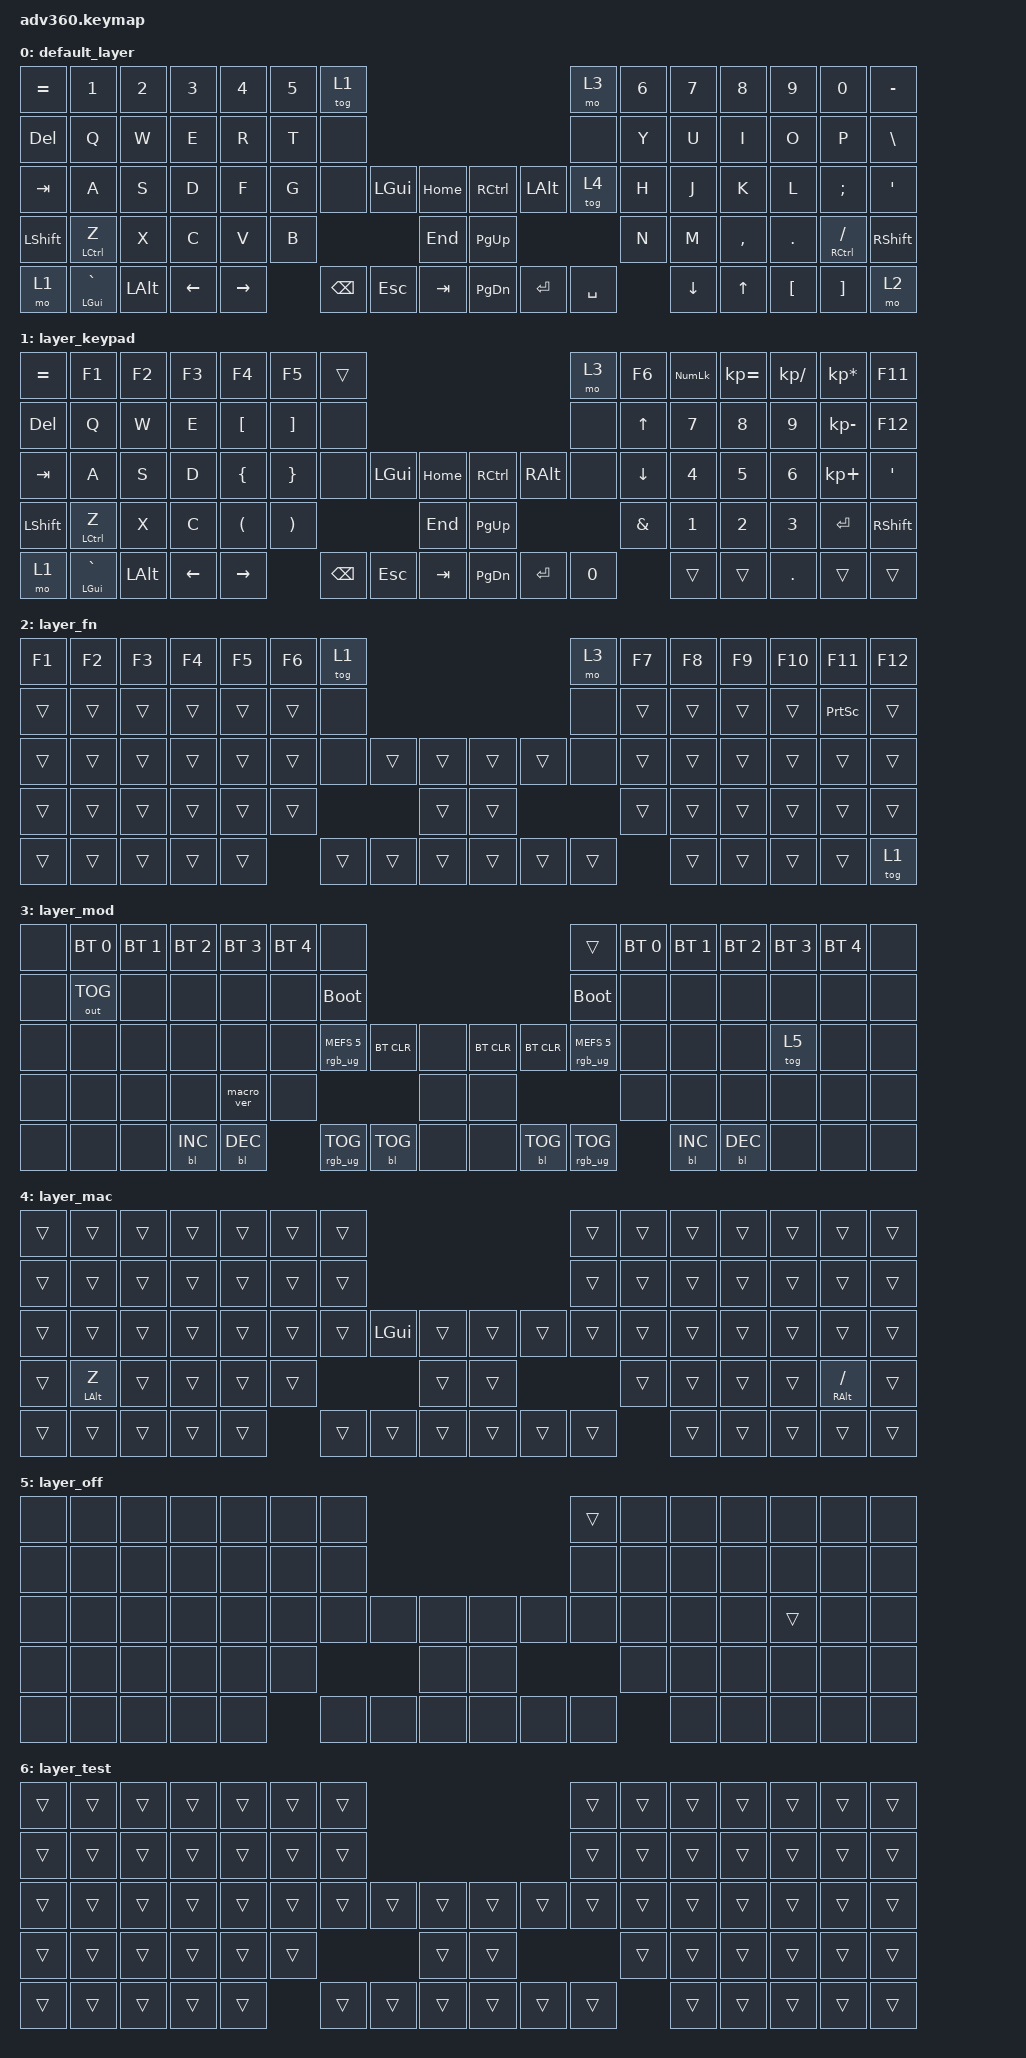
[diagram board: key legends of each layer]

/*
 * Copyright (c) 2020 The ZMK Contributors
 *
 * SPDX-License-Identifier: MIT
 */


/* THIS FILE WAS GENERATED!
 *
 * This file was generated automatically. You may or may not want to
 * edit it directly.
 */

#include <behaviors.dtsi>
#include <dt-bindings/zmk/keys.h>
#include <dt-bindings/zmk/bt.h>
#include <dt-bindings/zmk/outputs.h>
#include <dt-bindings/zmk/rgb.h>
#include <dt-bindings/zmk/backlight.h>

/ {
  behaviors {
    #include "macros.dtsi"

    #include "version.dtsi"
    #ifndef VERSION_MACRO
    macro_ver: macro_ver {
        compatible = "zmk,behavior-macro";
        label = "macro_version";
        #binding-cells = <0>;
        bindings = <&kp RET>;
    };
    #endif

    hm: homerow_mods {
        compatible = "zmk,behavior-hold-tap";
        label = "HOMEROW_MODS";
        #binding-cells = <2>;
        tapping-term-ms = <200>;
        quick_tap_ms = <175>;
        flavor = "tap-preferred";
        bindings = <&kp>, <&kp>;
    };
  };

    keymap {
        compatible = "zmk,keymap";


        default_layer {
            bindings = <
 &kp EQUAL &kp N1         &kp N2   &kp N3   &kp N4    &kp N5   &tog 1                                         &mo 3     &kp N6 &kp N7         &kp N8       &kp N9   &kp N0         &kp MINUS
 &kp DEL   &kp Q          &kp W    &kp E    &kp R     &kp T    &none                                          &none     &kp Y  &kp U          &kp I        &kp O    &kp P          &kp BSLH
 &kp TAB   &kp A          &kp S    &kp D    &kp F     &kp G    &none    &kp LGUI &kp HOME &kp RCTRL &kp LALT  &tog 4    &kp H  &kp J          &kp K        &kp L    &kp SEMI       &kp SQT
 &kp LSHFT &mt LCTRL Z    &kp X    &kp C    &kp V     &kp B                      &kp END  &kp PG_UP                     &kp N  &kp M          &kp COMMA    &kp DOT  &mt RCTRL FSLH &kp RSHFT
 &mo 1     &mt LGUI GRAVE &kp LALT &kp LEFT &kp RIGHT          &kp BSPC &kp ESC  &kp TAB  &kp PG_DN &kp ENTER &kp SPACE        &kp DOWN_ARROW &kp UP_ARROW &kp LBKT &kp RBKT       &mo 2
            >;
        };

        layer_keypad {
            bindings = <
 &kp EQUAL &kp F1         &kp F2   &kp F3   &kp F4                &kp F5                &trans                                                 &mo 3        &kp F6         &kp KP_NUMLOCK &kp KP_EQUAL &kp KP_DIVIDE &kp KP_MULTIPLY &kp F11
 &kp DEL   &kp Q          &kp W    &kp E    &kp LEFT_BRACKET      &kp RIGHT_BRACKET     &none                                                  &none        &kp UP_ARROW   &kp N7         &kp N8       &kp N9        &kp KP_MINUS    &kp F12
 &kp TAB   &kp A          &kp S    &kp D    &kp LEFT_BRACE        &kp RIGHT_BRACE       &none    &kp LGUI &kp HOME        &kp RCTRL  &kp RALT  &none        &kp DOWN_ARROW &kp N4         &kp N5       &kp N6        &kp KP_PLUS     &kp SQT
 &kp LSHFT &mt LCTRL Z    &kp X    &kp C    &kp LEFT_PARENTHESIS  &kp RIGHT_PARENTHESIS                   &kp END         &kp PG_UP                         &kp AMPERSAND  &kp N1         &kp N2       &kp N3        &kp RETURN      &kp RSHFT
 &mo 1     &mt LGUI GRAVE &kp LALT &kp LEFT &kp RIGHT                                   &kp BSPC &kp ESC  &kp TAB         &kp PG_DN  &kp ENTER &kp N0                      &trans         &trans       &kp DOT       &trans          &trans
            >;
        };

        layer_fn {
            bindings = <
 &kp F1  &kp F2  &kp F3  &kp F4  &kp F5  &kp F6            &tog 1                                                   &mo 3  &kp F7  &kp F8  &kp F9  &kp F10          &kp F11  &kp F12
 &trans  &trans  &trans  &trans  &trans  &trans             &none                                                   &none  &trans  &trans  &trans   &trans  &kp PRINTSCREEN   &trans
 &trans  &trans  &trans  &trans  &trans  &trans             &none  &trans  &trans                  &trans  &trans   &none  &trans  &trans  &trans   &trans           &trans   &trans
 &trans  &trans  &trans  &trans  &trans  &trans                            &trans                  &trans                  &trans  &trans  &trans   &trans           &trans   &trans
 &trans  &trans  &trans  &trans  &trans                    &trans  &trans  &trans                  &trans  &trans  &trans          &trans  &trans   &trans           &trans   &tog 1
            >;
        };

        layer_mod {
            bindings = <
  &none &bt BT_SEL 0 &bt BT_SEL 1 &bt BT_SEL 2 &bt BT_SEL 3 &bt BT_SEL 4 &none                                                            &trans                 &bt BT_SEL 0 &bt BT_SEL 1 &bt BT_SEL 2 &bt BT_SEL 3 &bt BT_SEL 4 &none
  &none &out OUT_TOG &none        &none        &none        &none        &bootloader                                                      &bootloader            &none        &none        &none        &none        &none        &none
  &none        &none &none        &none        &none        &none        &rgb_ug RGB_MEFS_CMD 5 &bt BT_CLR &none    &bt BT_CLR &bt BT_CLR &rgb_ug RGB_MEFS_CMD 5 &none        &none        &none        &tog 5       &none        &none
  &none        &none &none        &none        &macro_ver   &none                                          &none    &none                                        &none        &none        &none        &none        &none        &none
  &none        &none &none        &bl BL_INC   &bl BL_DEC                &rgb_ug RGB_TOG        &bl BL_TOG &none    &none      &bl BL_TOG &rgb_ug RGB_TOG                     &bl BL_INC   &bl BL_DEC   &none        &none        &none

>;
        };

        layer_mac {
            bindings = <
 &trans          &trans  &trans  &trans  &trans  &trans            &trans                                                        &trans  &trans  &trans  &trans  &trans         &trans  &trans
 &trans          &trans  &trans  &trans  &trans  &trans            &trans                                                        &trans  &trans  &trans  &trans  &trans         &trans  &trans
 &trans          &trans  &trans  &trans  &trans  &trans            &trans  &kp LGUI  &trans                  &trans  &trans  &trans  &trans  &trans  &trans  &trans         &trans  &trans
 &trans  &mt LALT Z  &trans  &trans  &trans  &trans                                  &trans                  &trans                  &trans  &trans  &trans  &trans  &mt RALT FSLH  &trans
 &trans          &trans  &trans  &trans  &trans                    &trans        &trans  &trans                  &trans  &trans  &trans          &trans  &trans  &trans         &trans  &trans
            >;
        };

        layer_off {
            bindings = <
  &none   &none   &none   &none   &none   &none            &none                                                  &trans   &none   &none   &none   &none   &none   &none
  &none   &none   &none   &none   &none   &none            &none                                                   &none   &none   &none   &none   &none   &none   &none
  &none   &none   &none   &none   &none   &none            &none   &none   &none                   &none   &none   &none   &none   &none   &none  &trans   &none   &none
  &none   &none   &none   &none   &none   &none                            &none                   &none                   &none   &none   &none   &none   &none   &none
  &none   &none   &none   &none   &none                    &none   &none   &none                   &none   &none   &none           &none   &none   &none   &none   &none
            >;
        };

        layer_test {
            bindings = <
 &trans  &trans  &trans  &trans  &trans  &trans            &trans                                                  &trans  &trans  &trans  &trans  &trans  &trans  &trans
 &trans  &trans  &trans  &trans  &trans  &trans            &trans                                                  &trans  &trans  &trans  &trans  &trans  &trans  &trans
 &trans  &trans  &trans  &trans  &trans  &trans            &trans  &trans  &trans                  &trans  &trans  &trans  &trans  &trans  &trans  &trans  &trans  &trans
 &trans  &trans  &trans  &trans  &trans  &trans                            &trans                  &trans                  &trans  &trans  &trans  &trans  &trans  &trans
 &trans  &trans  &trans  &trans  &trans                    &trans  &trans  &trans                  &trans  &trans  &trans          &trans  &trans  &trans  &trans  &trans
            >;
        };

    };
};
